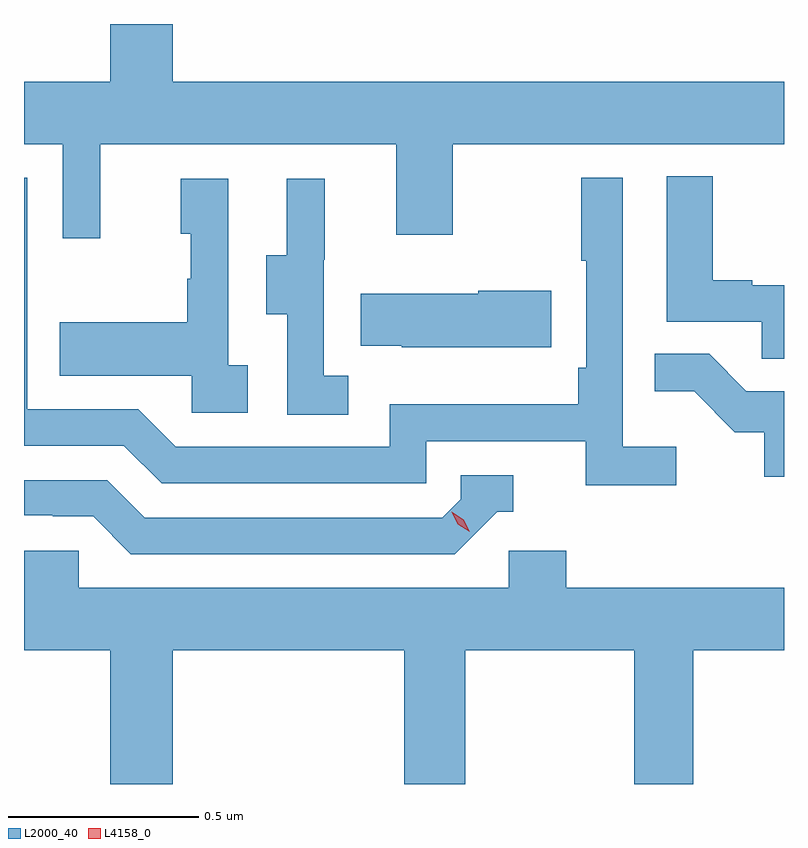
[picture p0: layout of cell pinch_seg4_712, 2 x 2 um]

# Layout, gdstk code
import gdstk
lib = gdstk.Library(unit=1e-6, precision=1e-09)
def P(c, l, *ps):  # polygons
    for p in ps: c.add(gdstk.Polygon(p, *l))
L2000_40 = (2000, 40)
L4158_0 = (4158, 0)

pinch_seg4_712 = lib.new_cell('pinch_seg4_712')
P(pinch_seg4_712, L2000_40, [(1088.248,758.508),(1088.084,758.508),(1088.084,758.356),(1087.857,758.356),(1087.857,758.192),(1087.959,758.192),(1087.959,757.944),(1088.057,757.944),(1088.057,758.192),(1088.837,758.192),(1088.837,757.953),(1088.985,757.953),(1088.985,758.192),(1089.857,758.192),(1089.857,758.356),(1088.248,758.356)],
  [(1089.857,757.821),(1089.773,757.821),(1089.773,757.834),(1089.67,757.834),(1089.67,758.107),(1089.548,758.107),(1089.548,757.725),(1089.799,757.725),(1089.799,757.627),(1089.857,757.627)],
  [(1089.574,757.396),(1089.432,757.396),(1089.432,758.104),(1089.324,758.104),(1089.324,757.885),(1089.336,757.885),(1089.336,757.603),(1089.316,757.603),(1089.316,757.507),(1088.82,757.507),(1088.82,757.395),(1088.256,757.395),(1088.157,757.494),(1087.866,757.494),(1087.866,758.103),(1087.857,758.103),(1087.857,757.398),(1088.12,757.398),(1088.219,757.299),(1088.916,757.299),(1088.916,757.41),(1089.335,757.41),(1089.335,757.294),(1089.574,757.294)],
  [(1088.71,757.583),(1088.646,757.583),(1088.646,757.887),(1088.648,757.887),(1088.648,758.101),(1088.549,758.101),(1088.549,757.899),(1088.495,757.899),(1088.495,757.744),(1088.55,757.744),(1088.55,757.48),(1088.71,757.48)],
  [(1088.446,757.61),(1088.394,757.61),(1088.394,758.101),(1088.27,758.101),(1088.27,757.956),(1088.296,757.956),(1088.296,757.838),(1088.286,757.838),(1088.286,757.723),(1087.951,757.723),(1087.951,757.583),(1088.298,757.583),(1088.298,757.485),(1088.446,757.485)],
  [(1089.244,757.806),(1089.053,757.806),(1089.053,757.798),(1088.743,757.798),(1088.743,757.661),(1088.851,757.661),(1088.851,757.658),(1089.244,757.658)],
  [(1089.857,757.542),(1089.758,757.542),(1089.66,757.64),(1089.517,757.64),(1089.517,757.541),(1089.621,757.541),(1089.728,757.434),(1089.805,757.434),(1089.805,757.317),(1089.857,757.317)],
  [(1089.102,757.224),(1089.145,757.224),(1089.145,757.32),(1089.006,757.32),(1089.006,757.257),(1088.958,757.209),(1088.175,757.209),(1088.076,757.308),(1087.857,757.308),(1087.857,757.215),(1087.932,757.215),(1087.932,757.212),(1088.039,757.212),(1088.138,757.113),(1088.991,757.113)],
  [(1088.248,756.86),(1088.858,756.86),(1088.858,756.508),(1089.018,756.508),(1089.018,756.86),(1089.463,756.86),(1089.463,756.508),(1089.618,756.508),(1089.618,756.86),(1089.857,756.86),(1089.857,757.024),(1089.284,757.024),(1089.284,757.122),(1089.132,757.122),(1089.132,757.024),(1088.001,757.024),(1088.001,757.122),(1087.857,757.122),(1087.857,756.86),(1088.084,756.86),(1088.084,756.508),(1088.248,756.508)])
P(pinch_seg4_712, L4158_0, [(1089.03,757.172),(1088.999,757.191),(1088.983,757.223),(1088.983,757.224),(1088.983,757.224),(1089.014,757.204),(1089.03,757.172),(1089.03,757.172)])

lib.write_gds('pinch_seg4_712.gds')
